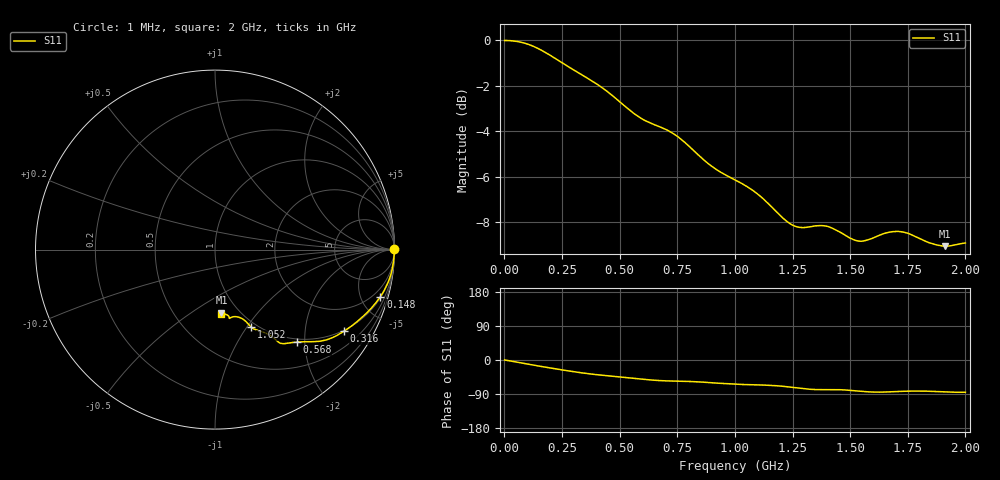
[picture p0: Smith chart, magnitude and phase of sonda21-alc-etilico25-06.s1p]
! COPPER MOUNTAIN TECHNOLOGIES, R60, 23103002, 24.3.3/3.0
! Date: 25/6/2026 15:06:34
! Data: Format [Calibration Info]
! Frequency		S11: Mag/Ang F1
# HZ S MA R 50
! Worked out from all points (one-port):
!   2000 points, 1 MHz to 2 GHz, reference 50 ohm
!   lowest |S11| = -9.1 dB at 1.912 GHz (marker M1), VSWR 2.09, Z = 41.6 - j33.3 ohm
!   |S11| at or under -10 dB: nowhere
!   S11 on the Smith chart (normalised r, x): 1 MHz: open; 148 MHz: 1.10, -7.02; 316 MHz: 0.97, -3.19; 568 MHz: 0.94, -1.83; 1.052 GHz: 0.94, -1.05; 2 GHz: 0.82, -0.67
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1000000  0.999 0.1
7.3e7  0.9899 -7.9
1.48e8  0.9582 -15.8
2e8  0.926 -21.1
2.51e8  0.8919 -26.2
3.16e8  0.8512 -32.3
4.03e8  0.8 -38.9
5.01e8  0.732 -44.5
5.68e8  0.6869 -48.6
6.48e8  0.6531 -53.3
6.99e8  0.6373 -55.0
7.51e8  0.6146 -55.8
8.7e8  0.5431 -58.8
1.001e9  0.493 -63.9
1.052e9  0.477 -65.0
1.158e9  0.4309 -67.0
1.251e9  0.3921 -72.4
1.331e9  0.3894 -77.4
1.405e9  0.3894 -78.2
1.454e9  0.3791 -78.4
1.501e9  0.3671 -80.1
1.55e9  0.3616 -82.7
1.61e9  0.3695 -84.8
1.687e9  0.3796 -83.6
1.751e9  0.3764 -82.2
1.818e9  0.3633 -82.1
1.912e9  0.3526 -84.2
2e9  0.3584 -85.0
